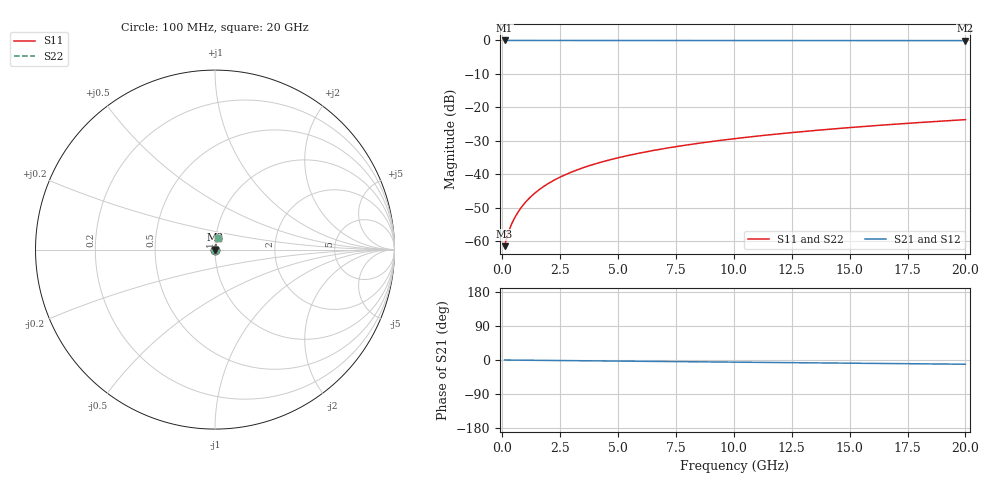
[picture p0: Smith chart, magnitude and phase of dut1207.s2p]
! Touchstone file exported from HFSS 2026.1.0
!  File:  C:/ffzhzh/LocalFiles/Ansys_Project_Files/temp_train_TMRDL_1207_1783163096_22436.aedt
!  Generated:  07:06:09 PM Jul  4, 2026
!  Design:  TMRDL
!  Project:  temp_train_TMRDL_1207_1783163096_22436
! Variables:
!  h_bsmrdl = 2um
!  h_ox = 20um
!  h_rdl = 5um
!  h_sub = 80um
!  h_tmrdl = 4.46um
!  h_tsv = 80um
!  h_via = 3um
!  l_bsmrdl = 300um
!  l_sub = 564.5um
!  l_tmrdl = 164.5um
!  m_sub = 200um
!  pitch = 37.26um
!  r_tsv = 6um
!  s_tmrdl = 10um
!  w_bsmrdl = 18um
!  w_sub = 500um
!  w_tmrdl = 25.19um
!  x_tsv_center1 = 177.095um
!  x_tsv_center2 = 495.095um
!  x_tsv_center3 = 684.785um
!  x_tsv_center4 = 1002.785um
!  x_tsv_center5 = 1192.475um
!  x_tsv_center6 = 1510.475um
# GHz S MA R 50.000000
! Terminal data exported
! Port[1] = TM_RDL1_1_T1
! Port[2] = TM_RDL1_1_T2
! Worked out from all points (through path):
!   200 points, 100 MHz to 20 GHz, reference 50 ohm
!   highest |S21| = -0.01 dB at 100 MHz (marker M1); lowest = -0.1 dB at 20 GHz (marker M2)
!   group delay of S21, straight-line fit = 1.54 ps
!   lowest |S11| = -61.4 dB at 100 MHz (marker M3), VSWR 1.00, Z = 50.1 + j0.0456 ohm
!   |S11| at or under -10 dB: start of sweep to end of sweep
!   |S22| runs from -61.4 to -23.6 dB; largest |S21 - S12| = 6e-15
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0.1  0.0008512 32.4  0.9993 -0.1  0.9993 -0.1  0.0008512 32.4
! Gamma 0 0 0 0
! Port Impedance 50 0 50 0
0.2  0.001166 47.5  0.9992 -0.1  0.9992 -0.1  0.001166 47.5
0.3  0.001491 55.4  0.9992 -0.2  0.9992 -0.2  0.001491 55.4
0.4  0.001814 60.7  0.9991 -0.2  0.9991 -0.2  0.001814 60.7
0.5  0.00214 64.6  0.9991 -0.3  0.9991 -0.3  0.00214 64.6
0.6  0.002472 67.6  0.9991 -0.4  0.9991 -0.4  0.002472 67.6
0.8  0.003151 71.8  0.999 -0.5  0.999 -0.5  0.003151 71.8
1  0.003844 74.5  0.999 -0.6  0.999 -0.6  0.003844 74.5
1.2  0.004546 76.4  0.999 -0.7  0.999 -0.7  0.004546 76.4
1.4  0.005252 77.7  0.9989 -0.8  0.9989 -0.8  0.005252 77.7
1.7  0.006316 79.0  0.9989 -1.0  0.9989 -1.0  0.006316 79.0
2.2  0.008087 80.3  0.9988 -1.3  0.9988 -1.3  0.008087 80.3
2.8  0.0102 81.0  0.9986 -1.6  0.9986 -1.6  0.0102 81.0
3.5  0.01263 81.2  0.9984 -2.0  0.9984 -2.0  0.01263 81.2
4.2  0.01504 81.3  0.9982 -2.4  0.9982 -2.4  0.01504 81.3
5  0.01774 81.1  0.998 -2.9  0.998 -2.9  0.01774 81.1
6.8  0.02372 80.7  0.9975 -3.9  0.9975 -3.9  0.02372 80.7
8.3  0.02862 80.2  0.997 -4.7  0.997 -4.7  0.02862 80.2
10.1  0.03444 79.5  0.9965 -5.7  0.9965 -5.7  0.03444 79.5
13.4  0.045 78.2  0.9956 -7.5  0.9956 -7.5  0.045 78.2
16.7  0.05543 76.8  0.9947 -9.3  0.9947 -9.3  0.05543 76.8
20  0.06574 75.2  0.9937 -11.2  0.9937 -11.2  0.06574 75.2
